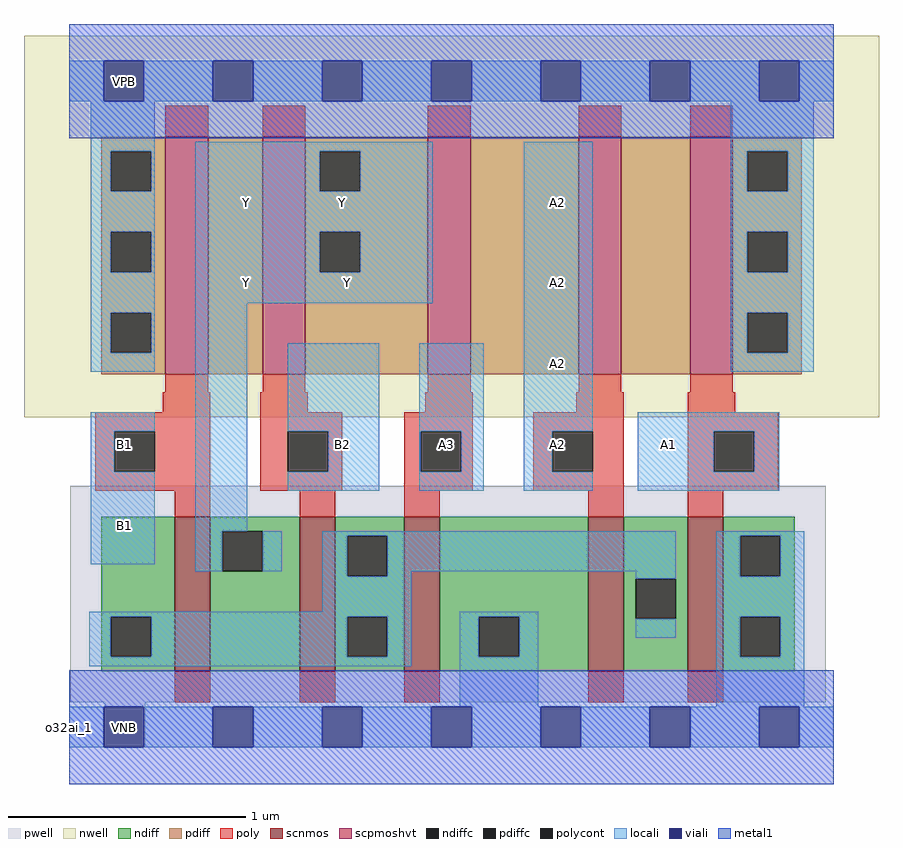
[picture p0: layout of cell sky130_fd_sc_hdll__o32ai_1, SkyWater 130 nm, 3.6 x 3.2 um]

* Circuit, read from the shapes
.subckt sky130_fd_sc_hdll__o32ai_1 A1 A2 A3 B1 B2 VGND VNB VPB VPWR Y
XM1 Y B1 n1 VNB sky130_fd_pr__nfet_01v8 w=0.65 l=0.15
XM2 n1 B2 Y VNB sky130_fd_pr__nfet_01v8 w=0.65 l=0.15
XM3 VGND A3 n1 VNB sky130_fd_pr__nfet_01v8 w=0.65 l=0.15
XM4 n1 A2 VGND VNB sky130_fd_pr__nfet_01v8 w=0.65 l=0.15
XM5 VGND A1 n1 VNB sky130_fd_pr__nfet_01v8 w=0.65 l=0.15
XM6 n2 B1 VPWR VPB sky130_fd_pr__pfet_01v8_hvt w=1 l=0.18
XM7 Y B2 n2 VPB sky130_fd_pr__pfet_01v8_hvt w=1 l=0.18
XM8 n3 A3 Y VPB sky130_fd_pr__pfet_01v8_hvt w=1 l=0.18
XM9 n4 A2 n3 VPB sky130_fd_pr__pfet_01v8_hvt w=1 l=0.18
XM10 VPWR A1 n4 VPB sky130_fd_pr__pfet_01v8_hvt w=1 l=0.18
.ends

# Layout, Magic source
magic
tech sky130A
magscale 1 2
<< nwell >>
rect -38 261 682 582
<< pwell >>
rect 1 21 637 203
rect 30 -17 64 21
<< scnmos >>
rect 89 47 119 177
rect 194 47 224 177
rect 282 47 312 177
rect 437 47 467 177
rect 521 47 551 177
<< scpmoshvt >>
rect 81 297 117 497
rect 163 297 199 497
rect 302 297 338 497
rect 429 297 465 497
rect 523 297 559 497
<< ndiff >>
rect 27 93 89 177
rect 27 59 35 93
rect 69 59 89 93
rect 27 47 89 59
rect 119 165 194 177
rect 119 131 129 165
rect 163 131 194 165
rect 119 47 194 131
rect 224 161 282 177
rect 224 127 234 161
rect 268 127 282 161
rect 224 93 282 127
rect 224 59 234 93
rect 268 59 282 93
rect 224 47 282 59
rect 312 93 437 177
rect 312 59 345 93
rect 379 59 437 93
rect 312 47 437 59
rect 467 125 521 177
rect 467 91 477 125
rect 511 91 521 125
rect 467 47 521 91
rect 551 161 611 177
rect 551 127 565 161
rect 599 127 611 161
rect 551 93 611 127
rect 551 59 565 93
rect 599 59 611 93
rect 551 47 611 59
<< pdiff >>
rect 27 485 81 497
rect 27 451 35 485
rect 69 451 81 485
rect 27 417 81 451
rect 27 383 35 417
rect 69 383 81 417
rect 27 349 81 383
rect 27 315 35 349
rect 69 315 81 349
rect 27 297 81 315
rect 117 297 163 497
rect 199 485 302 497
rect 199 451 211 485
rect 245 451 302 485
rect 199 417 302 451
rect 199 383 211 417
rect 245 383 302 417
rect 199 297 302 383
rect 338 297 429 497
rect 465 297 523 497
rect 559 485 617 497
rect 559 451 571 485
rect 605 451 617 485
rect 559 417 617 451
rect 559 383 571 417
rect 605 383 617 417
rect 559 349 617 383
rect 559 315 571 349
rect 605 315 617 349
rect 559 297 617 315
<< ndiffc >>
rect 35 59 69 93
rect 129 131 163 165
rect 234 127 268 161
rect 234 59 268 93
rect 345 59 379 93
rect 477 91 511 125
rect 565 127 599 161
rect 565 59 599 93
<< pdiffc >>
rect 35 451 69 485
rect 35 383 69 417
rect 35 315 69 349
rect 211 451 245 485
rect 211 383 245 417
rect 571 451 605 485
rect 571 383 605 417
rect 571 315 605 349
<< poly >>
rect 81 497 117 523
rect 163 497 199 523
rect 302 497 338 523
rect 429 497 465 523
rect 523 497 559 523
rect 81 282 117 297
rect 163 282 199 297
rect 302 282 338 297
rect 429 282 465 297
rect 523 282 559 297
rect 79 265 119 282
rect 22 249 119 265
rect 22 215 38 249
rect 72 215 119 249
rect 22 199 119 215
rect 161 265 201 282
rect 300 265 340 282
rect 427 265 467 282
rect 161 249 230 265
rect 161 215 184 249
rect 218 215 230 249
rect 161 199 230 215
rect 282 249 340 265
rect 282 215 296 249
rect 330 215 340 249
rect 282 199 340 215
rect 391 249 467 265
rect 391 215 407 249
rect 441 215 467 249
rect 391 199 467 215
rect 89 177 119 199
rect 194 177 224 199
rect 282 177 312 199
rect 437 177 467 199
rect 521 265 561 282
rect 521 249 597 265
rect 521 215 543 249
rect 577 215 597 249
rect 521 199 597 215
rect 521 177 551 199
rect 89 21 119 47
rect 194 21 224 47
rect 282 21 312 47
rect 437 21 467 47
rect 521 21 551 47
<< polycont >>
rect 38 215 72 249
rect 184 215 218 249
rect 296 215 330 249
rect 407 215 441 249
rect 543 215 577 249
<< locali >>
rect 0 527 29 561
rect 63 527 121 561
rect 155 527 213 561
rect 247 527 305 561
rect 339 527 397 561
rect 431 527 489 561
rect 523 527 581 561
rect 615 527 644 561
rect 18 485 72 527
rect 18 451 35 485
rect 69 451 72 485
rect 18 417 72 451
rect 18 383 35 417
rect 69 383 72 417
rect 18 349 72 383
rect 18 315 35 349
rect 69 315 72 349
rect 18 299 72 315
rect 106 485 306 493
rect 106 451 211 485
rect 245 451 306 485
rect 106 417 306 451
rect 106 383 211 417
rect 245 383 306 417
rect 106 357 306 383
rect 18 249 72 265
rect 18 215 38 249
rect 18 137 72 215
rect 106 165 150 357
rect 184 249 261 323
rect 218 215 261 249
rect 184 199 261 215
rect 295 249 349 323
rect 295 215 296 249
rect 330 215 349 249
rect 295 199 349 215
rect 383 249 441 493
rect 557 485 627 527
rect 557 451 571 485
rect 605 451 627 485
rect 557 417 627 451
rect 557 383 571 417
rect 605 383 627 417
rect 557 349 627 383
rect 557 315 571 349
rect 605 315 627 349
rect 557 299 627 315
rect 383 215 407 249
rect 383 199 441 215
rect 479 249 598 265
rect 479 215 543 249
rect 577 215 598 249
rect 479 199 598 215
rect 106 131 129 165
rect 163 131 179 165
rect 213 161 511 165
rect 213 127 234 161
rect 268 131 511 161
rect 268 127 288 131
rect 213 97 288 127
rect 477 125 511 131
rect 17 93 288 97
rect 17 59 35 93
rect 69 59 234 93
rect 268 59 288 93
rect 17 51 288 59
rect 329 93 395 97
rect 329 59 345 93
rect 379 59 395 93
rect 477 75 511 91
rect 545 161 619 165
rect 545 127 565 161
rect 599 127 619 161
rect 545 93 619 127
rect 329 17 395 59
rect 545 59 565 93
rect 599 59 619 93
rect 545 17 619 59
rect 0 -17 29 17
rect 63 -17 121 17
rect 155 -17 213 17
rect 247 -17 305 17
rect 339 -17 397 17
rect 431 -17 489 17
rect 523 -17 581 17
rect 615 -17 644 17
<< viali >>
rect 29 527 63 561
rect 121 527 155 561
rect 213 527 247 561
rect 305 527 339 561
rect 397 527 431 561
rect 489 527 523 561
rect 581 527 615 561
rect 29 -17 63 17
rect 121 -17 155 17
rect 213 -17 247 17
rect 305 -17 339 17
rect 397 -17 431 17
rect 489 -17 523 17
rect 581 -17 615 17
<< metal1 >>
rect 0 561 644 592
rect 0 527 29 561
rect 63 527 121 561
rect 155 527 213 561
rect 247 527 305 561
rect 339 527 397 561
rect 431 527 489 561
rect 523 527 581 561
rect 615 527 644 561
rect 0 496 644 527
rect 0 17 644 48
rect 0 -17 29 17
rect 63 -17 121 17
rect 155 -17 213 17
rect 247 -17 305 17
rect 339 -17 397 17
rect 431 -17 489 17
rect 523 -17 581 17
rect 615 -17 644 17
rect 0 -48 644 -17
<< labels >>
flabel locali s 394 425 428 459 0 FreeSans 250 0 0 0 A2
port 2 nsew signal input
flabel locali s 394 357 428 391 0 FreeSans 250 0 0 0 A2
port 2 nsew signal input
flabel locali s 394 289 428 323 0 FreeSans 250 0 0 0 A2
port 2 nsew signal input
flabel locali s 217 357 251 391 0 FreeSans 250 0 0 0 Y
port 10 nsew signal output
flabel locali s 213 425 247 459 0 FreeSans 250 0 0 0 Y
port 10 nsew signal output
flabel locali s 132 357 166 391 0 FreeSans 250 0 0 0 Y
port 10 nsew signal output
flabel locali s 132 425 166 459 0 FreeSans 250 0 0 0 Y
port 10 nsew signal output
flabel locali s 488 221 522 255 0 FreeSans 250 0 0 0 A1
port 1 nsew signal input
flabel locali s 394 221 428 255 0 FreeSans 250 0 0 0 A2
port 2 nsew signal input
flabel locali s 296 221 340 255 0 FreeSans 250 0 0 0 A3
port 3 nsew signal input
flabel locali s 213 221 247 255 0 FreeSans 250 0 0 0 B2
port 5 nsew signal input
flabel locali s 30 221 64 255 0 FreeSans 250 0 0 0 B1
port 4 nsew signal input
flabel locali s 30 153 64 187 0 FreeSans 250 0 0 0 B1
port 4 nsew signal input
flabel nwell s 30 527 64 561 0 FreeSans 200 0 0 0 VPB
port 8 nsew power bidirectional
flabel pwell s 30 -17 64 17 0 FreeSans 200 0 0 0 VNB
port 7 nsew ground bidirectional
flabel metal1 s 30 -17 64 17 0 FreeSans 200 0 0 0 VGND
port 6 nsew ground bidirectional
flabel metal1 s 30 527 64 561 0 FreeSans 200 0 0 0 VPWR
port 9 nsew power bidirectional
rlabel comment s 0 0 0 0 4 o32ai_1
<< properties >>
string LEFsite unithd
string LEFclass CORE
string FIXED_BBOX 0 0 644 544
string GDS_FILE $PDKPATH/libs.ref/sky130_fd_sc_hdll/gds/sky130_fd_sc_hdll.gds
string LEFsymmetry X Y R90
string GDS_END 749710
string GDS_START 743098
string LEFproperties maskLayoutSubType "abstract" prCellType "standard" originalViewName "layout"
<< end >>
